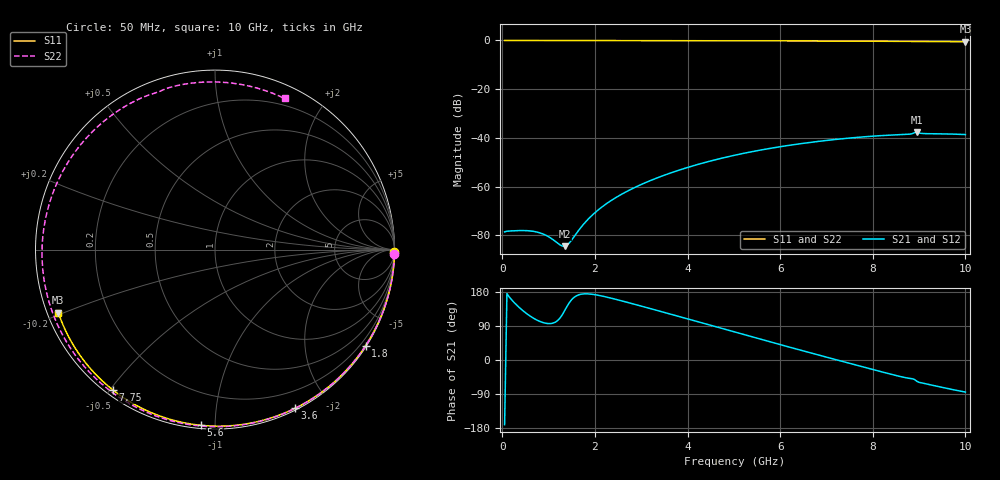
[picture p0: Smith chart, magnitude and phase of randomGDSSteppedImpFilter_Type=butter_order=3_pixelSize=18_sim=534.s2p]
! freq	dB(S11)	phase(S11)	dB(S12)	phase(S12)
!  dB(S21)	phase(S21)	dB(S22)	phase(S22)
!S-par simulation data
#  GHz  S  DB  R 50
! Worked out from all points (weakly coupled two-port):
!   200 points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, 50 MHz to 10 GHz, reference 50 ohm
!   highest |S21| = -37.73 dB at 8.95 GHz (marker M1); lowest = -84.4 dB at 1.35 GHz (marker M2)
!   lowest |S11| = -0.5 dB at 10 GHz (marker M3), VSWR 32.82, Z = 1.58 - j9.66 ohm
!   |S11| at or under -10 dB: nowhere
!   |S22| runs from -0.7 to 0.0 dB; largest |S21 - S12| = 0
!   S11 on the Smith chart (normalised r, x): 50 MHz: open; 1.8 GHz: 0.03, -3.43; 3.6 GHz: 0.02, -1.63; 5.6 GHz: 0.02, -0.92; 7.75 GHz: 0.02, -0.51; 10 GHz: 0.03, -0.19
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0.05  -0.00 -0.9  -78.54 -170.6  -78.54 -170.6  -0.00 -1.5
0.65  -0.01 -11.9  -78.27 112.0  -78.27 112.0  -0.02 -19.7
0.95  -0.02 -17.3  -80.03 96.7  -80.03 96.7  -0.03 -28.7
1.35  -0.03 -24.5  -84.42 130.9  -84.42 130.9  -0.05 -40.5
1.55  -0.04 -28.1  -80.52 165.3  -80.52 165.3  -0.06 -46.3
1.75  -0.04 -31.6  -75.52 174.4  -75.52 174.4  -0.07 -52.0
1.8  -0.04 -32.5  -74.43 174.6  -74.43 174.6  -0.07 -53.5
2.1  -0.05 -37.8  -69.10 170.2  -69.10 170.2  -0.08 -62.0
2.45  -0.06 -43.8  -64.51 160.1  -64.51 160.1  -0.09 -71.7
3.4  -0.08 -59.9  -55.99 128.9  -55.99 128.9  -0.12 -97.2
3.6  -0.08 -63.2  -54.61 122.1  -54.61 122.1  -0.13 -102.4
4.3  -0.11 -74.5  -50.46 98.4  -50.46 98.4  -0.16 -120.3
5.05  -0.13 -86.3  -46.97 72.8  -46.97 72.8  -0.20 -139.1
5.6  -0.16 -94.7  -44.90 54.1  -44.90 54.1  -0.24 -153.0
6.15  -0.18 -102.9  -43.16 35.6  -43.16 35.6  -0.28 -167.1
6.7  -0.22 -110.9  -41.71 17.4  -41.71 17.4  -0.33 178.3
7.25  -0.25 -118.8  -40.51 -0.7  -40.51 -0.7  -0.38 162.9
7.75  -0.29 -126.0  -39.63 -17.0  -39.63 -17.0  -0.43 148.1
8.35  -0.34 -134.5  -38.87 -36.2  -38.87 -36.2  -0.49 128.8
8.95  -0.41 -143.0  -37.73 -56.1  -37.73 -56.1  -0.57 107.9
9.5  -0.47 -150.9  -38.34 -72.3  -38.34 -72.3  -0.60 86.2
10  -0.53 -158.1  -38.61 -84.6  -38.61 -84.6  -0.66 65.3
